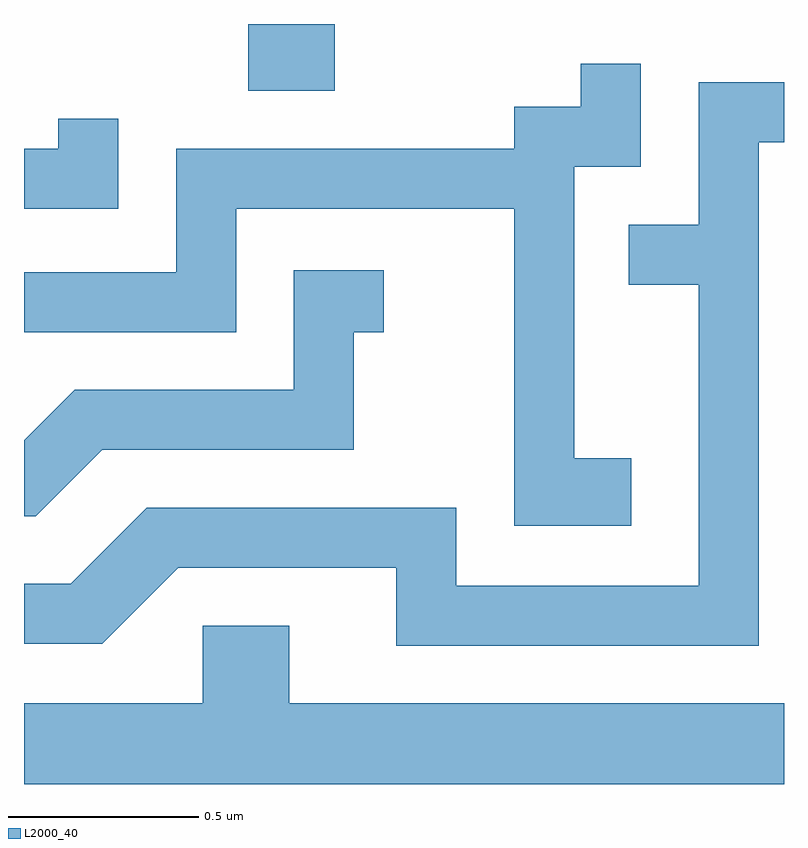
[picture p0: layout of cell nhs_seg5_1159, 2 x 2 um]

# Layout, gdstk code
import gdstk
lib = gdstk.Library(unit=1e-6, precision=1e-09)
def R(c, l, rs):  # rectangles x0, y0, x1, y1
    for r in rs: c.add(gdstk.rectangle(r[:2], r[2:], *l))
def P(c, l, *ps):  # polygons
    for p in ps: c.add(gdstk.Polygon(p, *l))
L2000_40 = (2000, 40)

nhs_seg5_1159 = lib.new_cell('nhs_seg5_1159')
R(nhs_seg5_1159, L2000_40, [(194.201,1460.896,194.429,1461.072)])
P(nhs_seg5_1159, L2000_40, [(195.209,1459.929),(195.059,1459.929),(195.059,1460.696),(195.234,1460.696),(195.234,1460.968),(195.076,1460.968),(195.076,1460.854),(194.901,1460.854),(194.901,1460.744),(194.011,1460.744),(194.011,1460.419),(193.611,1460.419),(193.611,1460.261),(194.169,1460.261),(194.169,1460.586),(194.901,1460.586),(194.901,1459.751),(195.209,1459.751)],
  [(195.544,1460.761),(195.611,1460.761),(195.611,1460.919),(195.386,1460.919),(195.386,1460.544),(195.203,1460.544),(195.203,1460.386),(195.386,1460.386),(195.386,1459.594),(194.749,1459.594),(194.749,1459.799),(193.934,1459.799),(193.734,1459.599),(193.611,1459.599),(193.611,1459.441),(193.817,1459.441),(194.017,1459.641),(194.591,1459.641),(194.591,1459.436),(195.544,1459.436)],
  [(193.859,1460.823),(193.701,1460.823),(193.701,1460.744),(193.611,1460.744),(193.611,1460.586),(193.859,1460.586)],
  [(193.817,1459.951),(194.479,1459.951),(194.479,1460.261),(194.558,1460.261),(194.558,1460.424),(194.321,1460.424),(194.321,1460.109),(193.744,1460.109),(193.611,1459.976),(193.611,1459.776),(193.642,1459.776)],
  [(195.611,1459.284),(194.309,1459.284),(194.309,1459.489),(194.081,1459.489),(194.081,1459.284),(193.611,1459.284),(193.611,1459.072),(195.611,1459.072)])

lib.write_gds('nhs_seg5_1159.gds')
